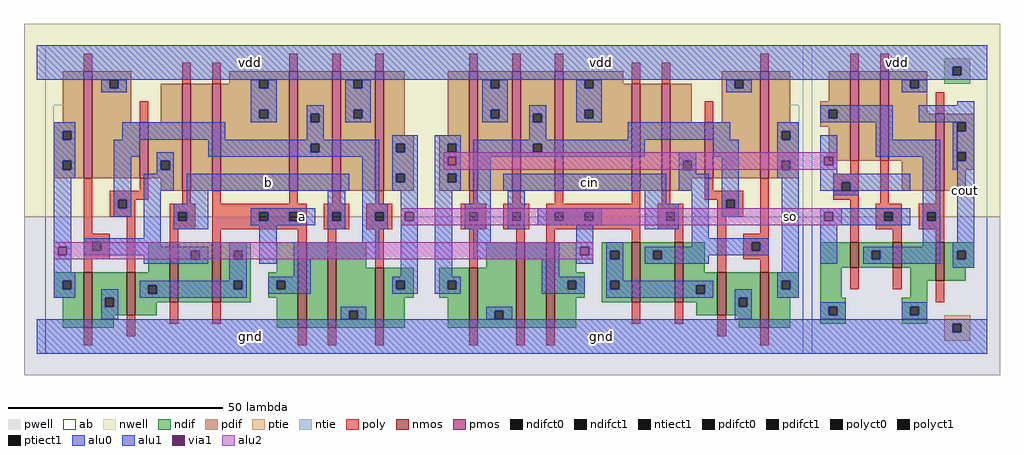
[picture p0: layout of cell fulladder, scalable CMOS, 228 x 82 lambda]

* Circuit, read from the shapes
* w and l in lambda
.subckt fulladder a b cin cout gnd so vdd
M1 gnd n1 n2 gnd nfet w=13 l=2
M2 n3 n4 gnd gnd nfet w=10 l=2
M3 n1 b n3 gnd nfet w=14 l=2
M4 n3 a n1 gnd nfet w=14 l=2
M5 n5 a n4 gnd nfet w=20 l=2
M6 gnd b n5 gnd nfet w=20 l=2
M7 n6 n4 gnd gnd nfet w=14 l=2
M8 gnd n7 n8 gnd nfet w=14 l=2
M9 n9 cin gnd gnd nfet w=20 l=2
M10 n7 n2 n9 gnd nfet w=20 l=2
M11 n10 n2 n11 gnd nfet w=14 l=2
M12 n11 cin n10 gnd nfet w=14 l=2
M13 gnd n7 n11 gnd nfet w=10 l=2
M14 so n10 gnd gnd nfet w=13 l=2
M15 n12 n8 gnd gnd nfet w=6 l=2
M16 gnd n6 n12 gnd nfet w=6 l=2
M17 cout n12 gnd gnd nfet w=9 l=2
M18 vdd n1 n2 vdd pfet w=25 l=2
M19 n1 n4 vdd vdd pfet w=13 l=2
M20 n13 b n1 vdd pfet w=25 l=2
M21 vdd a n13 vdd pfet w=25 l=2
M22 n4 a vdd vdd pfet w=28 l=2
M23 vdd b n4 vdd pfet w=28 l=2
M24 n6 n4 vdd vdd pfet w=28 l=2
M25 vdd n7 n8 vdd pfet w=28 l=2
M26 n7 cin vdd vdd pfet w=28 l=2
M27 vdd n2 n7 vdd pfet w=28 l=2
M28 n14 n2 vdd vdd pfet w=25 l=2
M29 n10 cin n14 vdd pfet w=25 l=2
M30 vdd n7 n10 vdd pfet w=13 l=2
M31 so n10 vdd vdd pfet w=25 l=2
M32 n15 n8 n12 vdd pfet w=21 l=2
M33 vdd n6 n15 vdd pfet w=21 l=2
M34 cout n12 vdd vdd pfet w=18 l=2
.ends

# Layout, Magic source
magic
tech scmos
<< ab >>
rect 4 63 181 77
rect 4 59 6 63
rect 8 59 178 63
rect 180 59 181 63
rect 4 5 181 59
rect 183 5 224 77
<< nwell >>
rect -1 37 227 82
<< pwell >>
rect -1 0 227 37
<< poly >>
rect 13 71 15 75
rect 36 68 38 73
rect 43 68 45 73
rect 61 71 63 75
rect 71 71 73 75
rect 81 71 83 75
rect 103 71 105 75
rect 113 71 115 75
rect 123 71 125 75
rect 26 59 28 64
rect 13 33 15 46
rect 26 43 28 46
rect 141 68 143 73
rect 148 68 150 73
rect 171 71 173 75
rect 192 71 194 75
rect 199 71 201 75
rect 158 59 160 64
rect 212 61 214 66
rect 192 47 194 50
rect 158 43 160 46
rect 19 41 28 43
rect 19 39 21 41
rect 23 39 25 41
rect 36 40 38 43
rect 43 40 45 43
rect 61 40 63 43
rect 71 40 73 43
rect 81 40 83 43
rect 103 40 105 43
rect 113 40 115 43
rect 123 40 125 43
rect 141 40 143 43
rect 148 40 150 43
rect 158 41 167 43
rect 19 37 25 39
rect 13 31 19 33
rect 13 29 15 31
rect 17 29 19 31
rect 13 27 19 29
rect 13 24 15 27
rect 23 24 25 37
rect 33 38 39 40
rect 33 36 35 38
rect 37 36 39 38
rect 33 34 39 36
rect 43 38 65 40
rect 43 36 54 38
rect 56 36 61 38
rect 63 36 65 38
rect 43 34 65 36
rect 69 38 75 40
rect 69 36 71 38
rect 73 36 75 38
rect 69 34 75 36
rect 79 38 85 40
rect 79 36 81 38
rect 83 36 85 38
rect 79 34 85 36
rect 101 38 107 40
rect 101 36 103 38
rect 105 36 107 38
rect 101 34 107 36
rect 111 38 117 40
rect 111 36 113 38
rect 115 36 117 38
rect 111 34 117 36
rect 121 38 143 40
rect 121 36 123 38
rect 125 36 130 38
rect 132 36 143 38
rect 121 34 143 36
rect 147 38 153 40
rect 147 36 149 38
rect 151 36 153 38
rect 147 34 153 36
rect 33 31 35 34
rect 43 31 45 34
rect 63 31 65 34
rect 70 31 72 34
rect 13 7 15 11
rect 23 9 25 14
rect 33 12 35 17
rect 43 12 45 17
rect 81 25 83 34
rect 103 25 105 34
rect 114 31 116 34
rect 121 31 123 34
rect 141 31 143 34
rect 151 31 153 34
rect 161 39 163 41
rect 165 39 167 41
rect 161 37 167 39
rect 161 24 163 37
rect 171 33 173 46
rect 188 45 194 47
rect 188 43 190 45
rect 192 43 194 45
rect 188 41 194 43
rect 167 31 173 33
rect 192 31 194 41
rect 199 40 201 50
rect 212 40 214 43
rect 198 38 204 40
rect 198 36 200 38
rect 202 36 204 38
rect 198 34 204 36
rect 208 38 214 40
rect 208 36 210 38
rect 212 36 214 38
rect 208 34 214 36
rect 202 31 204 34
rect 212 31 214 34
rect 167 29 169 31
rect 171 29 173 31
rect 167 27 173 29
rect 171 24 173 27
rect 141 12 143 17
rect 151 12 153 17
rect 63 7 65 11
rect 70 7 72 11
rect 81 7 83 11
rect 103 7 105 11
rect 114 7 116 11
rect 121 7 123 11
rect 161 9 163 14
rect 192 20 194 25
rect 202 20 204 25
rect 212 17 214 22
rect 171 7 173 11
<< ndif >>
rect 28 24 33 31
rect 6 22 13 24
rect 6 20 8 22
rect 10 20 13 22
rect 6 18 13 20
rect 8 11 13 18
rect 15 18 23 24
rect 15 16 18 18
rect 20 16 23 18
rect 15 14 23 16
rect 25 21 33 24
rect 25 19 28 21
rect 30 19 33 21
rect 25 17 33 19
rect 35 29 43 31
rect 35 27 38 29
rect 40 27 43 29
rect 35 17 43 27
rect 45 29 52 31
rect 45 27 48 29
rect 50 27 52 29
rect 45 22 52 27
rect 58 24 63 31
rect 45 20 48 22
rect 50 20 52 22
rect 45 17 52 20
rect 56 22 63 24
rect 56 20 58 22
rect 60 20 63 22
rect 56 18 63 20
rect 25 14 30 17
rect 15 11 20 14
rect 58 11 63 18
rect 65 11 70 31
rect 72 25 79 31
rect 107 25 114 31
rect 72 15 81 25
rect 72 13 75 15
rect 77 13 81 15
rect 72 11 81 13
rect 83 22 90 25
rect 83 20 86 22
rect 88 20 90 22
rect 83 18 90 20
rect 96 22 103 25
rect 96 20 98 22
rect 100 20 103 22
rect 96 18 103 20
rect 83 11 88 18
rect 98 11 103 18
rect 105 15 114 25
rect 105 13 109 15
rect 111 13 114 15
rect 105 11 114 13
rect 116 11 121 31
rect 123 24 128 31
rect 134 29 141 31
rect 134 27 136 29
rect 138 27 141 29
rect 123 22 130 24
rect 123 20 126 22
rect 128 20 130 22
rect 123 18 130 20
rect 134 22 141 27
rect 134 20 136 22
rect 138 20 141 22
rect 123 11 128 18
rect 134 17 141 20
rect 143 29 151 31
rect 143 27 146 29
rect 148 27 151 29
rect 143 17 151 27
rect 153 24 158 31
rect 185 25 192 31
rect 194 29 202 31
rect 194 27 197 29
rect 199 27 202 29
rect 194 25 202 27
rect 204 25 212 31
rect 153 21 161 24
rect 153 19 156 21
rect 158 19 161 21
rect 153 17 161 19
rect 156 14 161 17
rect 163 18 171 24
rect 163 16 166 18
rect 168 16 171 18
rect 163 14 171 16
rect 166 11 171 14
rect 173 22 180 24
rect 173 20 176 22
rect 178 20 180 22
rect 173 18 180 20
rect 185 18 190 25
rect 206 22 212 25
rect 214 29 221 31
rect 214 27 217 29
rect 219 27 221 29
rect 214 25 221 27
rect 214 22 219 25
rect 206 18 210 22
rect 173 11 178 18
rect 185 16 191 18
rect 185 14 187 16
rect 189 14 191 16
rect 185 12 191 14
rect 204 16 210 18
rect 204 14 206 16
rect 208 14 210 16
rect 204 12 210 14
<< pdif >>
rect 8 59 13 71
rect 6 57 13 59
rect 6 55 8 57
rect 10 55 13 57
rect 6 50 13 55
rect 6 48 8 50
rect 10 48 13 50
rect 6 46 13 48
rect 15 69 24 71
rect 15 67 19 69
rect 21 67 24 69
rect 47 69 61 71
rect 47 68 54 69
rect 15 59 24 67
rect 31 59 36 68
rect 15 46 26 59
rect 28 50 36 59
rect 28 48 31 50
rect 33 48 36 50
rect 28 46 36 48
rect 31 43 36 46
rect 38 43 43 68
rect 45 67 54 68
rect 56 67 61 69
rect 45 62 61 67
rect 45 60 54 62
rect 56 60 61 62
rect 45 43 61 60
rect 63 61 71 71
rect 63 59 66 61
rect 68 59 71 61
rect 63 54 71 59
rect 63 52 66 54
rect 68 52 71 54
rect 63 43 71 52
rect 73 69 81 71
rect 73 67 76 69
rect 78 67 81 69
rect 73 62 81 67
rect 73 60 76 62
rect 78 60 81 62
rect 73 43 81 60
rect 83 56 88 71
rect 98 56 103 71
rect 83 54 90 56
rect 83 52 86 54
rect 88 52 90 54
rect 83 47 90 52
rect 83 45 86 47
rect 88 45 90 47
rect 83 43 90 45
rect 96 54 103 56
rect 96 52 98 54
rect 100 52 103 54
rect 96 47 103 52
rect 96 45 98 47
rect 100 45 103 47
rect 96 43 103 45
rect 105 69 113 71
rect 105 67 108 69
rect 110 67 113 69
rect 105 62 113 67
rect 105 60 108 62
rect 110 60 113 62
rect 105 43 113 60
rect 115 61 123 71
rect 115 59 118 61
rect 120 59 123 61
rect 115 54 123 59
rect 115 52 118 54
rect 120 52 123 54
rect 115 43 123 52
rect 125 69 139 71
rect 125 67 130 69
rect 132 68 139 69
rect 162 69 171 71
rect 132 67 141 68
rect 125 62 141 67
rect 125 60 130 62
rect 132 60 141 62
rect 125 43 141 60
rect 143 43 148 68
rect 150 59 155 68
rect 162 67 165 69
rect 167 67 171 69
rect 162 59 171 67
rect 150 50 158 59
rect 150 48 153 50
rect 155 48 158 50
rect 150 46 158 48
rect 160 46 171 59
rect 173 59 178 71
rect 187 64 192 71
rect 185 62 192 64
rect 185 60 187 62
rect 189 60 192 62
rect 173 57 180 59
rect 185 58 192 60
rect 173 55 176 57
rect 178 55 180 57
rect 173 50 180 55
rect 187 50 192 58
rect 194 50 199 71
rect 201 69 210 71
rect 201 67 206 69
rect 208 67 210 69
rect 201 61 210 67
rect 201 50 212 61
rect 173 48 176 50
rect 178 48 180 50
rect 173 46 180 48
rect 150 43 155 46
rect 204 43 212 50
rect 214 59 221 61
rect 214 57 217 59
rect 219 57 221 59
rect 214 52 221 57
rect 214 50 217 52
rect 219 50 221 52
rect 214 48 221 50
rect 214 43 219 48
<< alu1 >>
rect 2 72 224 77
rect 2 70 216 72
rect 218 70 224 72
rect 2 69 224 70
rect 217 63 221 64
rect 208 59 221 63
rect 6 57 11 59
rect 6 55 8 57
rect 10 55 11 57
rect 6 50 11 55
rect 6 48 8 50
rect 10 48 11 50
rect 6 46 11 48
rect 6 30 10 46
rect 37 43 75 47
rect 37 40 42 43
rect 34 38 42 40
rect 34 36 35 38
rect 37 36 42 38
rect 34 34 42 36
rect 52 38 67 39
rect 52 36 54 38
rect 56 36 61 38
rect 63 36 67 38
rect 52 35 67 36
rect 6 28 7 30
rect 9 28 10 30
rect 6 24 10 28
rect 6 22 11 24
rect 54 26 58 35
rect 85 54 91 56
rect 85 52 86 54
rect 88 52 91 54
rect 85 47 91 52
rect 85 45 86 47
rect 88 45 91 47
rect 85 43 91 45
rect 87 38 91 43
rect 87 36 88 38
rect 90 36 91 38
rect 87 23 91 36
rect 6 20 8 22
rect 10 20 11 22
rect 6 18 11 20
rect 85 22 91 23
rect 85 20 86 22
rect 88 20 91 22
rect 85 19 91 20
rect 95 54 101 56
rect 175 57 180 59
rect 175 55 176 57
rect 178 55 180 57
rect 95 52 98 54
rect 100 52 101 54
rect 95 51 101 52
rect 95 49 98 51
rect 100 49 101 51
rect 95 47 101 49
rect 95 45 98 47
rect 100 45 101 47
rect 95 43 101 45
rect 95 23 99 43
rect 111 43 149 47
rect 144 40 149 43
rect 119 38 134 39
rect 119 36 123 38
rect 125 36 130 38
rect 132 36 134 38
rect 119 35 134 36
rect 144 38 152 40
rect 144 36 149 38
rect 151 36 152 38
rect 128 30 132 35
rect 144 34 152 36
rect 175 50 180 55
rect 175 48 176 50
rect 178 48 180 50
rect 175 46 180 48
rect 128 28 129 30
rect 131 28 132 30
rect 128 26 132 28
rect 95 22 101 23
rect 95 20 98 22
rect 100 20 101 22
rect 95 19 101 20
rect 176 24 180 46
rect 185 51 189 56
rect 185 49 186 51
rect 188 49 189 51
rect 185 47 189 49
rect 185 45 206 47
rect 185 43 190 45
rect 192 43 206 45
rect 185 38 206 39
rect 185 36 186 38
rect 188 36 200 38
rect 202 36 206 38
rect 185 35 206 36
rect 219 57 221 59
rect 217 52 221 57
rect 219 50 221 52
rect 185 26 189 35
rect 217 31 221 50
rect 216 29 221 31
rect 216 27 217 29
rect 219 27 221 29
rect 216 25 221 27
rect 175 22 180 24
rect 175 20 176 22
rect 178 20 180 22
rect 175 18 180 20
rect 2 12 224 13
rect 2 10 216 12
rect 218 10 224 12
rect 2 5 224 10
<< alu2 >>
rect 97 51 189 52
rect 97 49 98 51
rect 100 49 186 51
rect 188 49 189 51
rect 97 48 189 49
rect 87 38 190 39
rect 87 36 88 38
rect 90 36 186 38
rect 188 36 190 38
rect 87 35 190 36
rect 6 30 132 31
rect 6 28 7 30
rect 9 28 129 30
rect 131 28 132 30
rect 6 27 132 28
<< ptie >>
rect 214 12 220 14
rect 214 10 216 12
rect 218 10 220 12
rect 214 8 220 10
<< ntie >>
rect 214 72 220 74
rect 214 70 216 72
rect 218 70 220 72
rect 214 68 220 70
<< nmos >>
rect 13 11 15 24
rect 23 14 25 24
rect 33 17 35 31
rect 43 17 45 31
rect 63 11 65 31
rect 70 11 72 31
rect 81 11 83 25
rect 103 11 105 25
rect 114 11 116 31
rect 121 11 123 31
rect 141 17 143 31
rect 151 17 153 31
rect 192 25 194 31
rect 202 25 204 31
rect 161 14 163 24
rect 171 11 173 24
rect 212 22 214 31
<< pmos >>
rect 13 46 15 71
rect 26 46 28 59
rect 36 43 38 68
rect 43 43 45 68
rect 61 43 63 71
rect 71 43 73 71
rect 81 43 83 71
rect 103 43 105 71
rect 113 43 115 71
rect 123 43 125 71
rect 141 43 143 68
rect 148 43 150 68
rect 158 46 160 59
rect 171 46 173 71
rect 192 50 194 71
rect 199 50 201 71
rect 212 43 214 61
<< polyct0 >>
rect 21 39 23 41
rect 15 29 17 31
rect 71 36 73 38
rect 81 36 83 38
rect 103 36 105 38
rect 113 36 115 38
rect 163 39 165 41
rect 210 36 212 38
rect 169 29 171 31
<< polyct1 >>
rect 35 36 37 38
rect 54 36 56 38
rect 61 36 63 38
rect 123 36 125 38
rect 130 36 132 38
rect 149 36 151 38
rect 190 43 192 45
rect 200 36 202 38
<< ndifct0 >>
rect 18 16 20 18
rect 28 19 30 21
rect 38 27 40 29
rect 48 27 50 29
rect 48 20 50 22
rect 58 20 60 22
rect 75 13 77 15
rect 109 13 111 15
rect 136 27 138 29
rect 126 20 128 22
rect 136 20 138 22
rect 146 27 148 29
rect 197 27 199 29
rect 156 19 158 21
rect 166 16 168 18
rect 187 14 189 16
rect 206 14 208 16
<< ndifct1 >>
rect 8 20 10 22
rect 86 20 88 22
rect 98 20 100 22
rect 176 20 178 22
rect 217 27 219 29
<< ntiect1 >>
rect 216 70 218 72
<< ptiect1 >>
rect 216 10 218 12
<< pdifct0 >>
rect 19 67 21 69
rect 31 48 33 50
rect 54 67 56 69
rect 54 60 56 62
rect 66 59 68 61
rect 66 52 68 54
rect 76 67 78 69
rect 76 60 78 62
rect 108 67 110 69
rect 108 60 110 62
rect 118 59 120 61
rect 118 52 120 54
rect 130 67 132 69
rect 130 60 132 62
rect 165 67 167 69
rect 153 48 155 50
rect 187 60 189 62
rect 206 67 208 69
<< pdifct1 >>
rect 8 55 10 57
rect 8 48 10 50
rect 86 52 88 54
rect 86 45 88 47
rect 98 52 100 54
rect 98 45 100 47
rect 176 55 178 57
rect 176 48 178 50
rect 217 57 219 59
rect 217 50 219 52
<< alu0 >>
rect 17 67 19 69
rect 21 67 23 69
rect 17 66 23 67
rect 52 67 54 69
rect 56 67 58 69
rect 52 62 58 67
rect 74 67 76 69
rect 78 67 80 69
rect 52 60 54 62
rect 56 60 58 62
rect 52 59 58 60
rect 65 61 69 63
rect 65 59 66 61
rect 68 59 69 61
rect 74 62 80 67
rect 74 60 76 62
rect 78 60 80 62
rect 74 59 80 60
rect 106 67 108 69
rect 110 67 112 69
rect 106 62 112 67
rect 128 67 130 69
rect 132 67 134 69
rect 106 60 108 62
rect 110 60 112 62
rect 106 59 112 60
rect 117 61 121 63
rect 117 59 118 61
rect 120 59 121 61
rect 128 62 134 67
rect 163 67 165 69
rect 167 67 169 69
rect 163 66 169 67
rect 204 67 206 69
rect 208 67 210 69
rect 204 66 210 67
rect 128 60 130 62
rect 132 60 134 62
rect 128 59 134 60
rect 185 62 202 63
rect 185 60 187 62
rect 189 60 202 62
rect 185 59 202 60
rect 22 55 46 59
rect 65 55 69 59
rect 20 51 26 55
rect 42 54 82 55
rect 42 52 66 54
rect 68 52 82 54
rect 20 41 24 51
rect 30 50 34 52
rect 42 51 82 52
rect 30 48 31 50
rect 33 48 34 50
rect 30 47 34 48
rect 20 39 21 41
rect 23 39 24 41
rect 20 37 24 39
rect 27 43 34 47
rect 27 32 31 43
rect 70 38 74 43
rect 70 36 71 38
rect 73 36 74 38
rect 13 31 31 32
rect 13 29 15 31
rect 17 30 31 31
rect 17 29 42 30
rect 13 28 38 29
rect 27 27 38 28
rect 40 27 42 29
rect 27 26 42 27
rect 47 29 51 31
rect 47 27 48 29
rect 50 27 51 29
rect 47 22 51 27
rect 70 34 74 36
rect 78 40 82 51
rect 78 38 84 40
rect 78 36 81 38
rect 83 36 84 38
rect 78 34 84 36
rect 78 31 82 34
rect 62 27 82 31
rect 62 23 66 27
rect 26 21 48 22
rect 17 18 21 20
rect 26 19 28 21
rect 30 20 48 21
rect 50 20 51 22
rect 30 19 51 20
rect 56 22 66 23
rect 56 20 58 22
rect 60 20 66 22
rect 56 19 66 20
rect 117 55 121 59
rect 140 55 164 59
rect 104 54 144 55
rect 104 52 118 54
rect 120 52 144 54
rect 104 51 144 52
rect 104 40 108 51
rect 152 50 156 52
rect 160 51 166 55
rect 152 48 153 50
rect 155 48 156 50
rect 152 47 156 48
rect 152 43 159 47
rect 102 38 108 40
rect 102 36 103 38
rect 105 36 108 38
rect 102 34 108 36
rect 112 38 116 43
rect 112 36 113 38
rect 115 36 116 38
rect 112 34 116 36
rect 104 31 108 34
rect 104 27 124 31
rect 120 23 124 27
rect 155 32 159 43
rect 162 41 166 51
rect 162 39 163 41
rect 165 39 166 41
rect 162 37 166 39
rect 155 31 173 32
rect 135 29 139 31
rect 155 30 169 31
rect 135 27 136 29
rect 138 27 139 29
rect 120 22 130 23
rect 120 20 126 22
rect 128 20 130 22
rect 120 19 130 20
rect 135 22 139 27
rect 144 29 169 30
rect 171 29 173 31
rect 144 27 146 29
rect 148 28 173 29
rect 148 27 159 28
rect 144 26 159 27
rect 198 55 202 59
rect 198 51 213 55
rect 188 42 194 43
rect 209 38 213 51
rect 216 48 217 59
rect 209 36 210 38
rect 212 36 213 38
rect 209 30 213 36
rect 195 29 213 30
rect 195 27 197 29
rect 199 27 213 29
rect 195 26 213 27
rect 135 20 136 22
rect 138 21 160 22
rect 138 20 156 21
rect 135 19 156 20
rect 158 19 160 21
rect 26 18 51 19
rect 135 18 160 19
rect 165 18 169 20
rect 17 16 18 18
rect 20 16 21 18
rect 165 16 166 18
rect 168 16 169 18
rect 17 13 21 16
rect 73 15 79 16
rect 73 13 75 15
rect 77 13 79 15
rect 107 15 113 16
rect 107 13 109 15
rect 111 13 113 15
rect 165 13 169 16
rect 185 16 191 17
rect 185 14 187 16
rect 189 14 191 16
rect 185 13 191 14
rect 204 16 210 17
rect 204 14 206 16
rect 208 14 210 16
rect 204 13 210 14
<< via1 >>
rect 7 28 9 30
rect 88 36 90 38
rect 98 49 100 51
rect 129 28 131 30
rect 186 49 188 51
rect 186 36 188 38
<< labels >>
rlabel alu1 52 73 52 73 6 vdd
rlabel alu1 52 9 52 9 1 gnd
rlabel alu1 64 37 64 37 6 a
rlabel alu1 56 45 56 45 1 b
rlabel alu1 134 9 134 9 1 gnd
rlabel alu1 134 73 134 73 4 vdd
rlabel alu1 178 37 178 37 4 so
rlabel alu1 131 45 131 45 1 cin
rlabel alu1 203 73 203 73 4 vdd
rlabel alu1 219 43 219 43 1 cout
<< end >>
